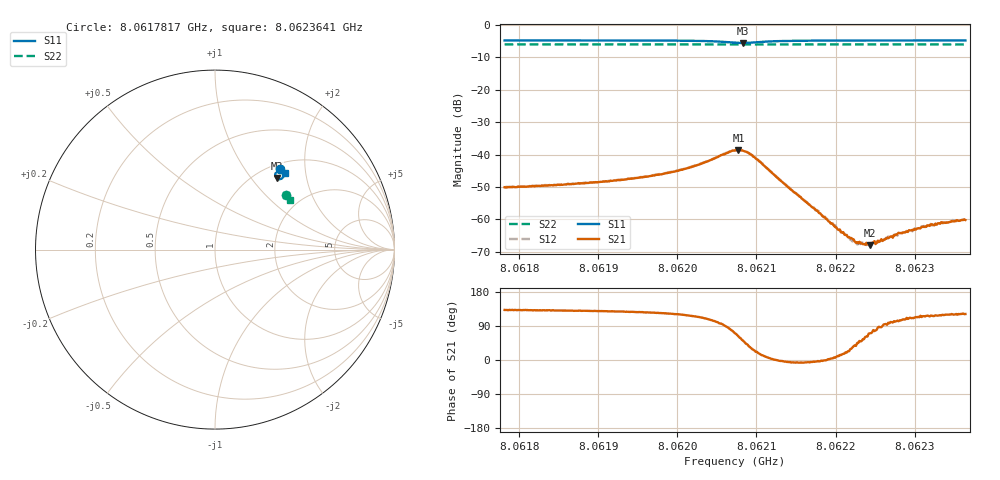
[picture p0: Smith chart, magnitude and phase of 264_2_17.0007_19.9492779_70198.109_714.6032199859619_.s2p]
#  HZ  S  RI  R  50.00
! Rohde & Schwarz Vector Network Analyzer
! Rohde-Schwarz,ZNB20-2Port,1311601062101988,3.16
! Created: UTC 3/20/2024, 11:03:54 PM
! freq[Hz]  re:S11  im:S11  re:S21  im:S21  re:S12  im:S12  re:S22  im:S22
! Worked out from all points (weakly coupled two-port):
!   401 points, 8.0617817 GHz to 8.0623641 GHz, reference 50 ohm
!   highest |S21| = -38.62 dB at 8.0620773 GHz (marker M1); lowest = -67.9 dB at 8.0622432 GHz (marker M2)
!   lowest |S11| = -5.6 dB at 8.0620831 GHz (marker M3), VSWR 3.22, Z = 61.2 + j67.5 ohm
!   |S11| at or under -10 dB: nowhere
!   |S22| runs from -6.1 to -6.0 dB; largest |S21 - S12| = 0.00084
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8.06178168e9  0.3629 0.4471  -0.0021 0.00232  -0.00195 0.00244  0.397 0.3055
8.06187924e9  0.37 0.4409  -0.0023 0.00278  -0.00215 0.00291  0.4005 0.3006
8.0619302e9  0.3741 0.4367  -0.00251 0.00322  -0.00231 0.00339  0.4025 0.2979
8.06197679e9  0.3782 0.4313  -0.00274 0.00407  -0.00259 0.00428  0.4041 0.2954
8.06201756e9  0.3821 0.4219  -0.00287 0.00573  -0.00256 0.00597  0.4054 0.2933
8.06205105e9  0.3798 0.4048  -0.00155 0.00903  -0.000963 0.00925  0.4062 0.2909
8.06207289e9  0.3587 0.3925  0.00389 0.011  0.00453 0.0107  0.4058 0.2896
8.06207726e9  0.3516 0.3936  0.00552 0.0103  0.00614 0.0102  0.4055 0.2894
8.06208308e9  0.3429 0.3987  0.00723 0.00887  0.00793 0.00853  0.4054 0.2897
8.06209036e9  0.3365 0.4095  0.00847 0.00624  0.00887 0.00583  0.4056 0.2899
8.06210056e9  0.337 0.4239  0.00783 0.00311  0.00815 0.00238  0.4062 0.29
8.06212968e9  0.3539 0.4389  0.00405 -0.000172  0.00407 -0.0004  0.4081 0.2891
8.06217045e9  0.3673 0.4384  0.00154 -0.00014  0.00157 -0.00025  0.4099 0.287
8.06220102e9  0.3726 0.4364  0.000746 0.000112  0.000769 3.94e-05  0.4112 0.2853
8.0622185e9  0.375 0.4352  0.000455 0.000245  0.000438 0.000218  0.4118 0.2842
8.06222869e9  0.3762 0.4344  0.000305 0.000303  0.000302 0.000287  0.4121 0.2837
8.06224325e9  0.3777 0.4337  0.000135 0.000381  0.000145 0.000358  0.4127 0.283
8.06225344e9  0.3788 0.4329  3.53e-05 0.00047  8.47e-05 0.000437  0.413 0.2824
8.062268e9  0.38 0.4321  -6.27e-05 0.000523  -1.97e-05 0.000532  0.4135 0.2815
8.06228256e9  0.3814 0.4311  -0.000155 0.000599  -0.000102 0.000608  0.4141 0.2808
8.06231896e9  0.3843 0.429  -0.000335 0.000719  -0.000325 0.00075  0.4153 0.2788
8.0623641e9  0.3874 0.4263  -0.000509 0.000835  -0.000478 0.000885  0.4166 0.2766
